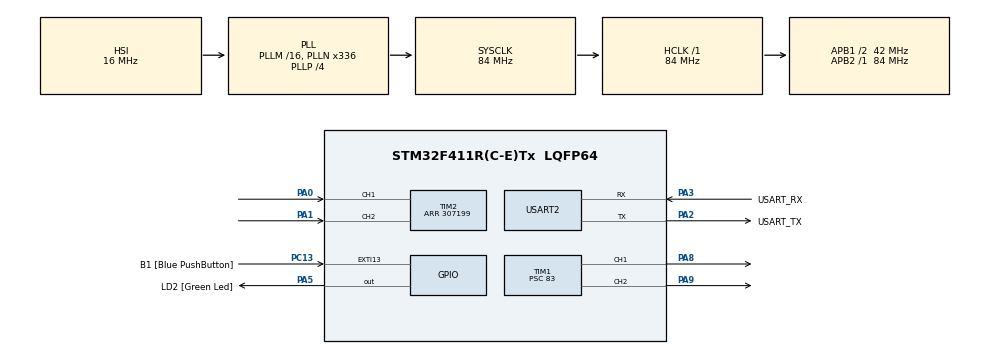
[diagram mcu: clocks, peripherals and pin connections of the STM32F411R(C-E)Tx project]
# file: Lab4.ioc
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Mcu.Family=STM32F4
Mcu.Name=STM32F411R(C-E)Tx
Mcu.Package=LQFP64
NVIC.PriorityGroup=NVIC_PRIORITYGROUP_0
NVIC.TIM5_IRQn=true\:0\:0\:false\:false\:true\:true\:true\:true
PA0-WKUP.Signal=S_TIM2_CH1_ETR
PA1.Signal=S_TIM2_CH2
PA13.GPIO_Label=TMS
PA13.Mode=Serial_Wire
PA13.Signal=SYS_JTMS-SWDIO
PA14.GPIO_Label=TCK
PA14.Mode=Serial_Wire
PA14.Signal=SYS_JTCK-SWCLK
PA2.GPIO_Label=USART_TX
PA2.Mode=Asynchronous
PA2.Signal=USART2_TX
PA3.GPIO_Label=USART_RX
PA3.Mode=Asynchronous
PA3.Signal=USART2_RX
PA5.GPIO_Label=LD2 [Green Led]
PA5.Signal=GPIO_Output
PA8.Signal=S_TIM1_CH1
PA9.Signal=S_TIM1_CH2
PB3.GPIO_Label=SWO
PB3.Signal=SYS_JTDO-SWO
PC13-ANTI_TAMP.GPIO_Label=B1 [Blue PushButton]
PC13-ANTI_TAMP.GPIO_ModeDefaultEXTI=GPIO_MODE_IT_FALLING
PC13-ANTI_TAMP.Signal=GPXTI13
PC14-OSC32_IN.Mode=LSE-External-Oscillator
PC14-OSC32_IN.Signal=RCC_OSC32_IN
PC15-OSC32_OUT.Mode=LSE-External-Oscillator
PC15-OSC32_OUT.Signal=RCC_OSC32_OUT
PH0\ -\ OSC_IN.Mode=HSE-External-Clock-Source
PH0\ -\ OSC_IN.Signal=RCC_OSC_IN
PH1\ -\ OSC_OUT.Mode=HSE-External-Clock-Source
PH1\ -\ OSC_OUT.Signal=RCC_OSC_OUT
ProjectManager.HeapSize=0x200
ProjectManager.StackSize=0x400
ProjectManager.TargetToolchain=STM32CubeIDE
RCC.48MHZClocksFreq_Value=84000000
RCC.AHBFreq_Value=84000000
RCC.APB1CLKDivider=RCC_HCLK_DIV2
RCC.APB1Freq_Value=42000000
RCC.APB1TimFreq_Value=84000000
RCC.APB2Freq_Value=84000000
RCC.APB2TimFreq_Value=84000000
RCC.CortexFreq_Value=84000000
RCC.FLatency-AdvancedSettings=FLASH_LATENCY_2
RCC.HCLKFreq_Value=84000000
RCC.HSE_VALUE=8000000
RCC.HSI_VALUE=16000000
RCC.PLLN=336
RCC.PLLP=RCC_PLLP_DIV4
RCC.SYSCLKFreq_VALUE=84000000
RCC.SYSCLKSource=RCC_SYSCLKSOURCE_PLLCLK
RCC.VCOOutputFreq_Value=336000000
SH.S_TIM1_CH1.0=TIM1_CH1,PWM Generation1 CH1
SH.S_TIM1_CH2.0=TIM1_CH2,PWM Generation2 CH2
SH.S_TIM2_CH1_ETR.0=TIM2_CH1,Encoder_Interface
SH.S_TIM2_CH2.0=TIM2_CH2,Encoder_Interface
TIM1.Channel-PWM\ Generation1\ CH1=TIM_CHANNEL_1
TIM1.Channel-PWM\ Generation2\ CH2=TIM_CHANNEL_2
TIM1.Period=99
TIM1.Prescaler=83
TIM1.Pulse-PWM\ Generation1\ CH1=0
TIM1.Pulse-PWM\ Generation2\ CH2=0
TIM2.EncoderMode=TIM_ENCODERMODE_TI12
TIM2.Period=307199
TIM5.Prescaler=83
USART2.VirtualMode=VM_ASYNC
VP_TIM1_VS_ClockSourceINT.Mode=Internal
VP_TIM5_VS_ClockSourceINT.Mode=Internal
board=NUCLEO-F411RE

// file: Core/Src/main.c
/* USER CODE BEGIN Header */
/**
  ******************************************************************************
  * @file           : main.c
  * @brief          : Main program body
  ******************************************************************************
  * @attention
  *
  * Copyright (c) 2023 STMicroelectronics.
  * All rights reserved.
  *
  * This software is licensed under terms that can be found in the LICENSE file
  * in the root directory of this software component.
  * If no LICENSE file comes with this software, it is provided AS-IS.
  *
  ******************************************************************************
  */
/* USER CODE END Header */
#include "main.h"

/* USER CODE BEGIN Includes */
#include "math.h"
/* USER CODE END Includes */

TIM_HandleTypeDef htim1;
TIM_HandleTypeDef htim2;
TIM_HandleTypeDef htim5;

UART_HandleTypeDef huart2;

/* USER CODE BEGIN PV */

uint32_t QEIReadRaw;
float degree = 0;

int8_t Direction = 1;

// SET PID
float K_p = 1;
float K_i = 0.31;
float K_d = 0;

// SET target
int32_t setpoint = 0;

int32_t e_past;
int32_t e;
float u = 0;
float PWM = 0;
/* USER CODE END PV */

void SystemClock_Config(void);
static void MX_GPIO_Init(void);
static void MX_USART2_UART_Init(void);
static void MX_TIM5_Init(void);
static void MX_TIM1_Init(void);
static void MX_TIM2_Init(void);

int main(void)
{

  /* MCU Configuration--------------------------------------------------------*/

  /* Reset of all peripherals, Initializes the Flash interface and the Systick. */
  HAL_Init();

  /* Configure the system clock */
  SystemClock_Config();

  /* Initialize all configured peripherals */
  MX_GPIO_Init();
  MX_USART2_UART_Init();
  MX_TIM5_Init();
  MX_TIM1_Init();
  MX_TIM2_Init();
  /* USER CODE BEGIN 2 */

HAL_TIM_Encoder_Start(&htim2, TIM_CHANNEL_1|TIM_CHANNEL_2);

HAL_TIM_Base_Start(&htim1);

HAL_TIM_PWM_Start(&htim1, TIM_CHANNEL_1);
HAL_TIM_PWM_Start(&htim1, TIM_CHANNEL_2);

  /* USER CODE END 2 */

  /* Infinite loop */
  while (1)
  {

    /* USER CODE BEGIN 3 */

	  static uint64_t timestamp = 0;

	  if (HAL_GetTick() > timestamp) // 100 Hz
	  {
		  timestamp = HAL_GetTick() + 10;
		  QEIReadRaw = __HAL_TIM_GET_COUNTER(&htim2);
		  degree = (QEIReadRaw * 36000) / 307200.0;

//		  float CurrentTime = micros();
//		  float Delta_T = ( CurrentTime - PastTime ) / 1.0e6 ;  // PastTime = previous time
//		  PastTime = CurrentTime;
		  float Delta_T = 0.01;

		  // e(t), Error
		  e = setpoint - degree ;

		  // derivative
		  float de_By_dt = (e - e_past) / Delta_T ;

		  // integral
		  float e_integral = e_integral + (e * Delta_T);

		  // control signal
		  u = (K_p * e) + (K_i * e_integral) + (K_d * de_By_dt) ;

		  // PWM
		  PWM = fabs(u);
		  if (PWM > 100)
		  {
			  PWM = 100;
		  }

		  // Motor Direction
		  Direction = 1;
		  if (u < 0)
		  {
			  Direction = -1;
		  }

		  if (Direction == -1)
		  {
			  __HAL_TIM_SET_COMPARE(&htim1, TIM_CHANNEL_1, PWM); //PA8
			  __HAL_TIM_SET_COMPARE(&htim1, TIM_CHANNEL_2, 0); //PA9
		  }

		  else if (Direction == 1)
		  {
			  __HAL_TIM_SET_COMPARE(&htim1, TIM_CHANNEL_1, 0); //PA8
			  __HAL_TIM_SET_COMPARE(&htim1, TIM_CHANNEL_2, PWM); //PA9
		  }

	  }
	  e_past = e;

  }
  /* USER CODE END 3 */
}

void SystemClock_Config(void)
{
  RCC_OscInitTypeDef RCC_OscInitStruct = {0};
  RCC_ClkInitTypeDef RCC_ClkInitStruct = {0};

  /** Configure the main internal regulator output voltage
  */
  __HAL_RCC_PWR_CLK_ENABLE();
  __HAL_PWR_VOLTAGESCALING_CONFIG(PWR_REGULATOR_VOLTAGE_SCALE1);

  /** Initializes the RCC Oscillators according to the specified parameters
  * in the RCC_OscInitTypeDef structure.
  */
  RCC_OscInitStruct.OscillatorType = RCC_OSCILLATORTYPE_HSI;
  RCC_OscInitStruct.HSIState = RCC_HSI_ON;
  RCC_OscInitStruct.HSICalibrationValue = RCC_HSICALIBRATION_DEFAULT;
  RCC_OscInitStruct.PLL.PLLState = RCC_PLL_ON;
  RCC_OscInitStruct.PLL.PLLSource = RCC_PLLSOURCE_HSI;
  RCC_OscInitStruct.PLL.PLLM = 16;
  RCC_OscInitStruct.PLL.PLLN = 336;
  RCC_OscInitStruct.PLL.PLLP = RCC_PLLP_DIV4;
  RCC_OscInitStruct.PLL.PLLQ = 4;
  if (HAL_RCC_OscConfig(&RCC_OscInitStruct) != HAL_OK)
  {
    Error_Handler();
  }

  /** Initializes the CPU, AHB and APB buses clocks
  */
  RCC_ClkInitStruct.ClockType = RCC_CLOCKTYPE_HCLK|RCC_CLOCKTYPE_SYSCLK
                              |RCC_CLOCKTYPE_PCLK1|RCC_CLOCKTYPE_PCLK2;
  RCC_ClkInitStruct.SYSCLKSource = RCC_SYSCLKSOURCE_PLLCLK;
  RCC_ClkInitStruct.AHBCLKDivider = RCC_SYSCLK_DIV1;
  RCC_ClkInitStruct.APB1CLKDivider = RCC_HCLK_DIV2;
  RCC_ClkInitStruct.APB2CLKDivider = RCC_HCLK_DIV1;

  if (HAL_RCC_ClockConfig(&RCC_ClkInitStruct, FLASH_LATENCY_2) != HAL_OK)
  {
    Error_Handler();
  }
}

static void MX_TIM1_Init(void)
{

  TIM_ClockConfigTypeDef sClockSourceConfig = {0};
  TIM_MasterConfigTypeDef sMasterConfig = {0};
  TIM_OC_InitTypeDef sConfigOC = {0};
  TIM_BreakDeadTimeConfigTypeDef sBreakDeadTimeConfig = {0};

  htim1.Instance = TIM1;
  htim1.Init.Prescaler = 83;
  htim1.Init.CounterMode = TIM_COUNTERMODE_UP;
  htim1.Init.Period = 99;
  htim1.Init.ClockDivision = TIM_CLOCKDIVISION_DIV1;
  htim1.Init.RepetitionCounter = 0;
  htim1.Init.AutoReloadPreload = TIM_AUTORELOAD_PRELOAD_DISABLE;
  if (HAL_TIM_Base_Init(&htim1) != HAL_OK)
  {
    Error_Handler();
  }
  sClockSourceConfig.ClockSource = TIM_CLOCKSOURCE_INTERNAL;
  if (HAL_TIM_ConfigClockSource(&htim1, &sClockSourceConfig) != HAL_OK)
  {
    Error_Handler();
  }
  if (HAL_TIM_PWM_Init(&htim1) != HAL_OK)
  {
    Error_Handler();
  }
  sMasterConfig.MasterOutputTrigger = TIM_TRGO_RESET;
  sMasterConfig.MasterSlaveMode = TIM_MASTERSLAVEMODE_DISABLE;
  if (HAL_TIMEx_MasterConfigSynchronization(&htim1, &sMasterConfig) != HAL_OK)
  {
    Error_Handler();
  }
  sConfigOC.OCMode = TIM_OCMODE_PWM1;
  sConfigOC.Pulse = 0;
  sConfigOC.OCPolarity = TIM_OCPOLARITY_HIGH;
  sConfigOC.OCNPolarity = TIM_OCNPOLARITY_HIGH;
  sConfigOC.OCFastMode = TIM_OCFAST_DISABLE;
  sConfigOC.OCIdleState = TIM_OCIDLESTATE_RESET;
  sConfigOC.OCNIdleState = TIM_OCNIDLESTATE_RESET;
  if (HAL_TIM_PWM_ConfigChannel(&htim1, &sConfigOC, TIM_CHANNEL_1) != HAL_OK)
  {
    Error_Handler();
  }
  if (HAL_TIM_PWM_ConfigChannel(&htim1, &sConfigOC, TIM_CHANNEL_2) != HAL_OK)
  {
    Error_Handler();
  }
  sBreakDeadTimeConfig.OffStateRunMode = TIM_OSSR_DISABLE;
  sBreakDeadTimeConfig.OffStateIDLEMode = TIM_OSSI_DISABLE;
  sBreakDeadTimeConfig.LockLevel = TIM_LOCKLEVEL_OFF;
  sBreakDeadTimeConfig.DeadTime = 0;
  sBreakDeadTimeConfig.BreakState = TIM_BREAK_DISABLE;
  sBreakDeadTimeConfig.BreakPolarity = TIM_BREAKPOLARITY_HIGH;
  sBreakDeadTimeConfig.AutomaticOutput = TIM_AUTOMATICOUTPUT_DISABLE;
  if (HAL_TIMEx_ConfigBreakDeadTime(&htim1, &sBreakDeadTimeConfig) != HAL_OK)
  {
    Error_Handler();
  }
  HAL_TIM_MspPostInit(&htim1);

}

static void MX_TIM2_Init(void)
{

  TIM_Encoder_InitTypeDef sConfig = {0};
  TIM_MasterConfigTypeDef sMasterConfig = {0};

  htim2.Instance = TIM2;
  htim2.Init.Prescaler = 0;
  htim2.Init.CounterMode = TIM_COUNTERMODE_UP;
  htim2.Init.Period = 307199;
  htim2.Init.ClockDivision = TIM_CLOCKDIVISION_DIV1;
  htim2.Init.AutoReloadPreload = TIM_AUTORELOAD_PRELOAD_DISABLE;
  sConfig.EncoderMode = TIM_ENCODERMODE_TI12;
  sConfig.IC1Polarity = TIM_ICPOLARITY_RISING;
  sConfig.IC1Selection = TIM_ICSELECTION_DIRECTTI;
  sConfig.IC1Prescaler = TIM_ICPSC_DIV1;
  sConfig.IC1Filter = 0;
  sConfig.IC2Polarity = TIM_ICPOLARITY_RISING;
  sConfig.IC2Selection = TIM_ICSELECTION_DIRECTTI;
  sConfig.IC2Prescaler = TIM_ICPSC_DIV1;
  sConfig.IC2Filter = 0;
  if (HAL_TIM_Encoder_Init(&htim2, &sConfig) != HAL_OK)
  {
    Error_Handler();
  }
  sMasterConfig.MasterOutputTrigger = TIM_TRGO_RESET;
  sMasterConfig.MasterSlaveMode = TIM_MASTERSLAVEMODE_DISABLE;
  if (HAL_TIMEx_MasterConfigSynchronization(&htim2, &sMasterConfig) != HAL_OK)
  {
    Error_Handler();
  }

}

static void MX_TIM5_Init(void)
{

  TIM_ClockConfigTypeDef sClockSourceConfig = {0};
  TIM_MasterConfigTypeDef sMasterConfig = {0};

  htim5.Instance = TIM5;
  htim5.Init.Prescaler = 83;
  htim5.Init.CounterMode = TIM_COUNTERMODE_UP;
  htim5.Init.Period = 4294967295;
  htim5.Init.ClockDivision = TIM_CLOCKDIVISION_DIV1;
  htim5.Init.AutoReloadPreload = TIM_AUTORELOAD_PRELOAD_DISABLE;
  if (HAL_TIM_Base_Init(&htim5) != HAL_OK)
  {
    Error_Handler();
  }
  sClockSourceConfig.ClockSource = TIM_CLOCKSOURCE_INTERNAL;
  if (HAL_TIM_ConfigClockSource(&htim5, &sClockSourceConfig) != HAL_OK)
  {
    Error_Handler();
  }
  sMasterConfig.MasterOutputTrigger = TIM_TRGO_RESET;
  sMasterConfig.MasterSlaveMode = TIM_MASTERSLAVEMODE_DISABLE;
  if (HAL_TIMEx_MasterConfigSynchronization(&htim5, &sMasterConfig) != HAL_OK)
  {
    Error_Handler();
  }

}

static void MX_USART2_UART_Init(void)
{

  huart2.Instance = USART2;
  huart2.Init.BaudRate = 115200;
  huart2.Init.WordLength = UART_WORDLENGTH_8B;
  huart2.Init.StopBits = UART_STOPBITS_1;
  huart2.Init.Parity = UART_PARITY_NONE;
  huart2.Init.Mode = UART_MODE_TX_RX;
  huart2.Init.HwFlowCtl = UART_HWCONTROL_NONE;
  huart2.Init.OverSampling = UART_OVERSAMPLING_16;
  if (HAL_UART_Init(&huart2) != HAL_OK)
  {
    Error_Handler();
  }

}

static void MX_GPIO_Init(void)
{
  GPIO_InitTypeDef GPIO_InitStruct = {0};

  /* GPIO Ports Clock Enable */
  __HAL_RCC_GPIOC_CLK_ENABLE();
  __HAL_RCC_GPIOH_CLK_ENABLE();
  __HAL_RCC_GPIOA_CLK_ENABLE();
  __HAL_RCC_GPIOB_CLK_ENABLE();

  /*Configure GPIO pin Output Level */
  HAL_GPIO_WritePin(LD2_GPIO_Port, LD2_Pin, GPIO_PIN_RESET);

  /*Configure GPIO pin : B1_Pin */
  GPIO_InitStruct.Pin = B1_Pin;
  GPIO_InitStruct.Mode = GPIO_MODE_IT_FALLING;
  GPIO_InitStruct.Pull = GPIO_NOPULL;
  HAL_GPIO_Init(B1_GPIO_Port, &GPIO_InitStruct);

  /*Configure GPIO pin : LD2_Pin */
  GPIO_InitStruct.Pin = LD2_Pin;
  GPIO_InitStruct.Mode = GPIO_MODE_OUTPUT_PP;
  GPIO_InitStruct.Pull = GPIO_NOPULL;
  GPIO_InitStruct.Speed = GPIO_SPEED_FREQ_LOW;
  HAL_GPIO_Init(LD2_GPIO_Port, &GPIO_InitStruct);

}

void Error_Handler(void)
{
  __disable_irq();
  while (1)
  {
  }
}
